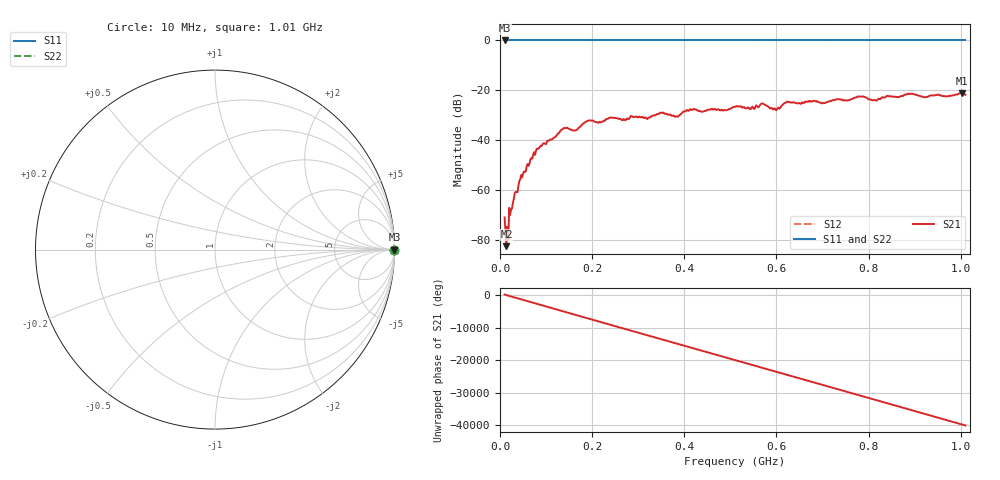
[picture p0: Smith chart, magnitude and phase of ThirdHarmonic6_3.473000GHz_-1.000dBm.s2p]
! 8/17/2025 11:16:35 AM
! C:\ANRITSUVNA\TEMP\TEMP.S2P
! CHANNEL.1
! TR.MEASUREMENT
! RAW.DATA
! RF.CORRECTION.OFF
! AVERAGING.OFF
! IF.BANDWIDTH: 5KHZ
! SWEEPTYPE:  FREQ.SWEEP(Linear)
! Reference Plane Port Info
! PORT:  PORT1  PORT2
! DISTANCE:  0  m  0  m
! TIME:  0  s  0  s
! PHASE.OFFSET:  0  deg.  0  deg.
! LOSS:  0  dB  0  dB
! REF.LOSS:  0  dB  0  dB
! REF.FREQ:  0  Hz  0  Hz
! Power Info
! POWER:  -20  dBm  -20  dBm
! EFF.POWER:  -20  dBm  -20  dBm
! SOURCE.ATTEN:  0  dB  0  dB
! TEST.ATTEN:  0  dB  0  dB
# GHZ S RI R 50.0
! FREQ.GHZ  S11RE  S11IM  S21RE  S21IM  S12RE  S12IM  S22RE  S22IM
!; PortSelection: Port_12
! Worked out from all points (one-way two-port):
!   501 points, 10 MHz to 1.01 GHz, reference 50 ohm
!   highest |S21| = -21.13 dB at 1.002 GHz (marker M1); lowest = -82.5 dB at 14 MHz (marker M2)
!   lowest |S11| = 0.0 dB at 10 MHz (marker M3)
!   |S11| at or under -10 dB: nowhere
!   |S22| runs from 0.0 to 0.0 dB; largest |S21 - S12| = 1.1
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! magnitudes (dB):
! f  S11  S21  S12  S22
! 10 MHz  0.0  -71.0  0.0  0.0
! 14 MHz  0.0  -82.5  0.0  0.0
! 18 MHz  0.0  -79.9  0.0  0.0
! 24 MHz  0.0  -67.8  0.0  0.0
! 44 MHz  0.0  -55.8  0.0  0.0
! 76 MHz  0.0  -45.9  0.0  0.0
! 136 MHz  0.0  -35.6  0.0  0.0
! 164 MHz  0.0  -36.0  0.0  0.0
! 178 MHz  0.0  -33.8  0.0  0.0
! 344 MHz  0.0  -29.5  0.0  0.0
! 382 MHz  0.0  -30.5  0.0  0.0
! 416 MHz  0.0  -27.9  0.0  0.0
! 510 MHz  0.0  -26.6  0.0  0.0
! 570 MHz  0.0  -25.3  0.0  0.0
! 596 MHz  0.0  -27.2  0.0  0.0
! 622 MHz  0.0  -24.7  0.0  0.0
! 678 MHz  0.0  -24.5  0.0  0.0
! 782 MHz  0.0  -22.5  0.0  0.0
! 814 MHz  0.0  -23.9  0.0  0.0
! 844 MHz  0.0  -22.4  0.0  0.0
! 1.002 GHz  0.0  -21.1  0.0  0.0
! 1.01 GHz  0.0  -21.8  0.0  0.0
